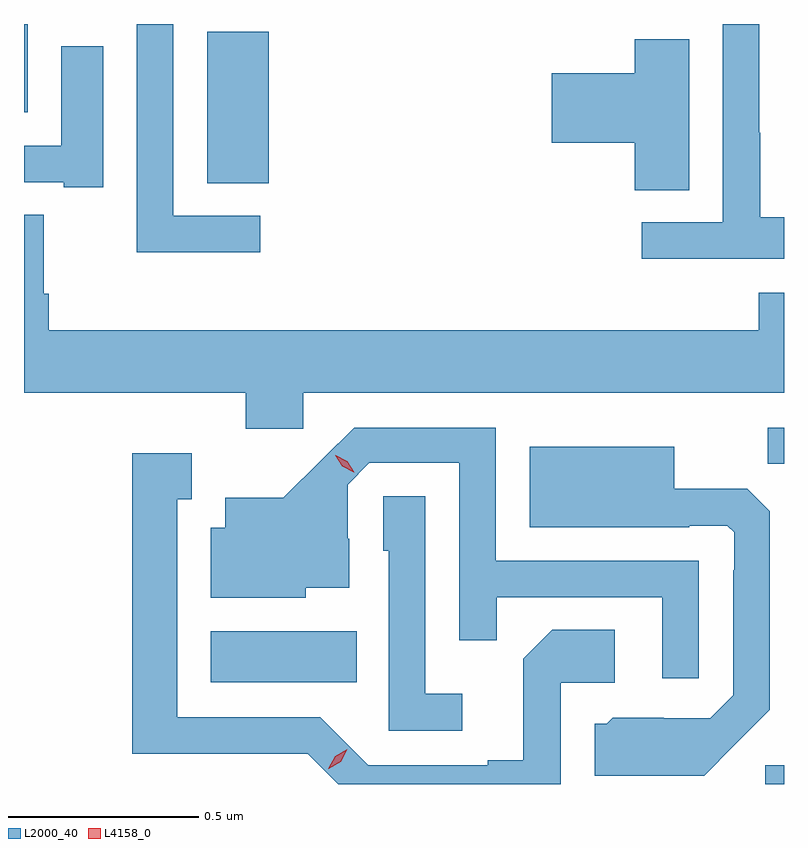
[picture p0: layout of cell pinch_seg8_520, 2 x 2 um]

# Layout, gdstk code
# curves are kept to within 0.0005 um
import gdstk
lib = gdstk.Library(unit=1e-6, precision=1e-09)
def R(c, l, rs):  # rectangles x0, y0, x1, y1
    for r in rs: c.add(gdstk.rectangle(r[:2], r[2:], *l))
def P(c, l, *ps):  # polygons
    for p in ps: c.add(gdstk.Polygon(p, *l))
L2000_40 = (2000, 40)
L4158_0 = (4158, 0)

pinch_seg8_520 = lib.new_cell('pinch_seg8_520')
R(pinch_seg8_520, L2000_40, [(203.655,1115.47,203.705,1115.52), (202.196,1115.738,202.58,1115.872), (203.662,1116.313,203.705,1116.408), (202.187,1117.051,202.349,1117.45), (201.705,1117.238,201.715,1117.47)])
P(pinch_seg8_520, L2000_40, [(202.327,1116.966),(202.098,1116.966),(202.098,1117.47),(202.002,1117.47),(202.002,1116.869),(202.327,1116.869)],
  [(203.705,1116.961),(203.643,1116.961),(203.643,1117.184),(203.64,1117.184),(203.64,1117.47),(203.544,1117.47),(203.544,1116.948),(203.331,1116.948),(203.331,1116.852),(203.705,1116.852)],
  [(203.455,1117.43),(203.312,1117.43),(203.312,1117.34),(203.094,1117.34),(203.094,1117.157),(203.312,1117.157),(203.312,1117.033),(203.455,1117.033)],
  [(201.913,1117.411),(201.803,1117.411),(201.803,1117.149),(201.705,1117.149),(201.705,1117.053),(201.809,1117.053),(201.809,1117.041),(201.913,1117.041)],
  [(202.44,1116.5),(203.705,1116.5),(203.705,1116.763),(203.639,1116.763),(203.639,1116.664),(201.77,1116.664),(201.77,1116.76),(201.757,1116.76),(201.757,1116.968),(201.705,1116.968),(201.705,1116.5),(202.289,1116.5),(202.289,1116.405),(202.44,1116.405)],
  [(203.481,1116.057),(202.947,1116.057),(202.947,1116.408),(202.574,1116.408),(202.387,1116.223),(202.235,1116.223),(202.235,1116.145),(202.196,1116.145),(202.196,1115.96),(202.446,1115.96),(202.446,1115.987),(202.561,1115.987),(202.561,1116.116),(202.557,1116.116),(202.557,1116.258),(202.614,1116.315),(202.851,1116.315),(202.851,1115.848),(202.949,1115.848),(202.949,1115.961),(203.385,1115.961),(203.385,1115.748),(203.481,1115.748)],
  [(203.575,1115.573),(203.667,1115.666),(203.667,1116.188),(203.608,1116.247),(203.416,1116.247),(203.416,1116.358),(203.036,1116.358),(203.036,1116.146),(203.456,1116.146),(203.456,1116.15),(203.556,1116.15),(203.574,1116.132),(203.574,1116.032),(203.571,1116.032),(203.571,1115.703),(203.511,1115.643),(203.388,1115.643),(203.388,1115.644),(203.254,1115.644),(203.238,1115.628),(203.207,1115.628),(203.207,1115.492),(203.495,1115.492)],
  [(203.118,1115.736),(203.26,1115.736),(203.26,1115.876),(203.095,1115.876),(203.019,1115.8),(203.019,1115.533),(202.925,1115.533),(202.925,1115.52),(202.611,1115.52),(202.485,1115.646),(202.108,1115.646),(202.108,1116.219),(202.147,1116.219),(202.147,1116.34),(201.99,1116.34),(201.99,1115.549),(202.23,1115.549),(202.23,1115.55),(202.452,1115.55),(202.532,1115.47),(203.118,1115.47)],
  [(202.858,1115.707),(202.761,1115.707),(202.761,1116.227),(202.65,1116.227),(202.65,1116.084),(202.665,1116.084),(202.665,1115.61),(202.858,1115.61)])
P(pinch_seg8_520, L4158_0, [(202.573,1116.291),(202.542,1116.306),(202.524,1116.335),(202.524,1116.335),(202.525,1116.335),(202.556,1116.32),(202.574,1116.291),(202.574,1116.291)],
  [(202.506,1115.51),(202.506,1115.51),(202.524,1115.543),(202.556,1115.561),(202.556,1115.561),(202.556,1115.561),(202.538,1115.529),(202.507,1115.51)])

lib.write_gds('pinch_seg8_520.gds')
